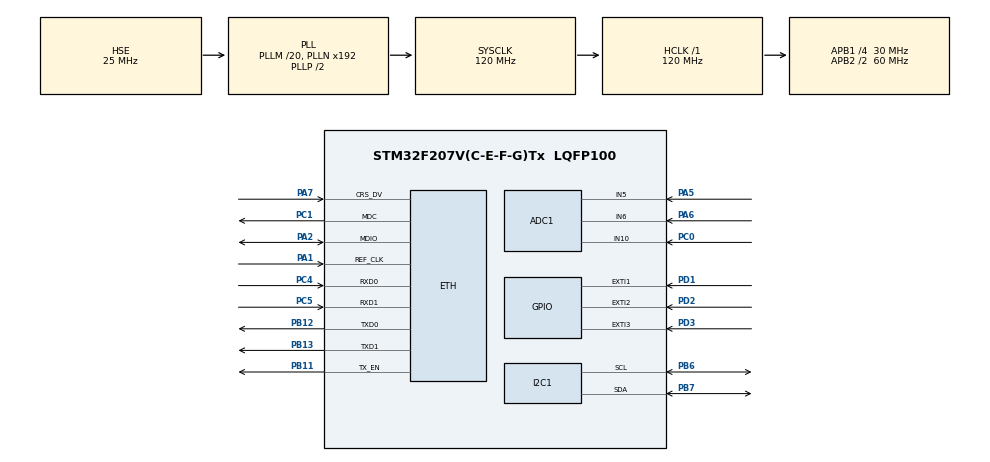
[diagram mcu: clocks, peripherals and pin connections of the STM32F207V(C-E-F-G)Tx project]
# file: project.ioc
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ADC1.Channel-0\#ChannelRegularConversion=ADC_CHANNEL_5
ADC1.Channel-1\#ChannelRegularConversion=ADC_CHANNEL_5
ADC1.Channel-2\#ChannelRegularConversion=ADC_CHANNEL_5
ADC1.ExternalTrigConv=ADC_EXTERNALTRIGCONV_T3_TRGO
ADC1.NbrOfConversion=3
ADC1.NbrOfConversionFlag=1
ADC1.Rank-0\#ChannelRegularConversion=1
ADC1.Rank-1\#ChannelRegularConversion=2
ADC1.Rank-2\#ChannelRegularConversion=3
ADC1.SamplingTime-0\#ChannelRegularConversion=ADC_SAMPLETIME_56CYCLES
ADC1.SamplingTime-1\#ChannelRegularConversion=ADC_SAMPLETIME_56CYCLES
ADC1.SamplingTime-2\#ChannelRegularConversion=ADC_SAMPLETIME_56CYCLES
ADC1.ScanConvMode=ENABLE
ADC1.master=1
Dma.ADC1.0.Direction=DMA_PERIPH_TO_MEMORY
Dma.ADC1.0.FIFOMode=DMA_FIFOMODE_DISABLE
Dma.ADC1.0.Instance=DMA2_Stream0
Dma.ADC1.0.MemDataAlignment=DMA_MDATAALIGN_WORD
Dma.ADC1.0.MemInc=DMA_MINC_ENABLE
Dma.ADC1.0.Mode=DMA_CIRCULAR
Dma.ADC1.0.PeriphDataAlignment=DMA_PDATAALIGN_WORD
Dma.ADC1.0.PeriphInc=DMA_PINC_DISABLE
Dma.ADC1.0.Priority=DMA_PRIORITY_HIGH
Dma.Request0=ADC1
ETH.MediaInterface=ETH_MEDIA_INTERFACE_RMII
ETH.PhyAddress=0
LWIP.GATEWAY_ADDRESS=192.168.001.001
LWIP.IP_ADDRESS=192.168.001.178
LWIP.LWIP_DHCP=0
LWIP.LWIP_HTTPD=1
LWIP.LWIP_HTTPD_CGI=1
LWIP.LWIP_HTTPD_SSI=1
LWIP.LWIP_HTTPD_SUPPORT_POST=1
LWIP.LWIP_SNMP=1
LWIP.LWIP_SNMP_V3=0
LWIP.LWIP_SNMP_V3_MBEDTLS=0
LWIP.NETMASK_ADDRESS=255.255.255.000
LWIP.Version=v2.0.3_Cube
Mcu.Family=STM32F2
Mcu.Name=STM32F207V(C-E-F-G)Tx
Mcu.Package=LQFP100
NVIC.DMA2_Stream0_IRQn=true\:0\:0\:false\:false\:true\:false\:true\:true
NVIC.EXTI1_IRQn=true\:5\:0\:true\:false\:true\:true\:true\:true
NVIC.EXTI2_IRQn=true\:5\:0\:true\:false\:true\:true\:true\:true
NVIC.EXTI3_IRQn=true\:5\:0\:true\:false\:true\:true\:true\:true
NVIC.PriorityGroup=NVIC_PRIORITYGROUP_4
PA1.Mode=RMII
PA1.Signal=ETH_REF_CLK
PA13.Mode=Serial_Wire
PA13.Signal=SYS_JTMS-SWDIO
PA14.Mode=Serial_Wire
PA14.Signal=SYS_JTCK-SWCLK
PA2.Mode=RMII
PA2.Signal=ETH_MDIO
PA5.Signal=ADCx_IN5
PA6.Signal=ADCx_IN6
PA7.Mode=RMII
PA7.Signal=ETH_CRS_DV
PB11.Mode=RMII
PB11.Signal=ETH_TX_EN
PB12.Mode=RMII
PB12.Signal=ETH_TXD0
PB13.Mode=RMII
PB13.Signal=ETH_TXD1
PB6.Mode=I2C
PB6.Signal=I2C1_SCL
PB7.Mode=I2C
PB7.Signal=I2C1_SDA
PC0.Signal=ADCx_IN10
PC1.Mode=RMII
PC1.Signal=ETH_MDC
PC4.Mode=RMII
PC4.Signal=ETH_RXD0
PC5.Mode=RMII
PC5.Signal=ETH_RXD1
PD1.GPIO_PuPd=GPIO_PULLUP
PD1.Signal=GPXTI1
PD2.GPIO_PuPd=GPIO_PULLUP
PD2.Signal=GPXTI2
PD3.GPIO_PuPd=GPIO_PULLUP
PD3.Signal=GPXTI3
PH0-OSC_IN.Mode=HSE-External-Oscillator
PH0-OSC_IN.Signal=RCC_OSC_IN
PH1-OSC_OUT.Mode=HSE-External-Oscillator
PH1-OSC_OUT.Signal=RCC_OSC_OUT
ProjectManager.HeapSize=0x2000
ProjectManager.StackSize=0x4000
ProjectManager.TargetToolchain=STM32CubeIDE
RCC.48MHZClocksFreq_Value=60000000
RCC.AHBFreq_Value=120000000
RCC.APB1CLKDivider=RCC_HCLK_DIV4
RCC.APB1Freq_Value=30000000
RCC.APB1TimFreq_Value=60000000
RCC.APB2CLKDivider=RCC_HCLK_DIV2
RCC.APB2Freq_Value=60000000
RCC.APB2TimFreq_Value=120000000
RCC.CortexFreq_Value=120000000
RCC.HCLKFreq_Value=120000000
RCC.HSE_VALUE=25000000
RCC.HSI_VALUE=16000000
RCC.LSE_VALUE=32768
RCC.PLLM=20
RCC.PLLSourceVirtual=RCC_PLLSOURCE_HSE
RCC.SYSCLKFreq_VALUE=120000000
RCC.SYSCLKSource=RCC_SYSCLKSOURCE_PLLCLK
RCC.VCOOutputFreq_Value=240000000
SH.ADCx_IN10.0=ADC1_IN10,IN10
SH.ADCx_IN5.0=ADC1_IN5,IN5
SH.ADCx_IN6.0=ADC1_IN6,IN6
TIM3.AutoReloadPreload=TIM_AUTORELOAD_PRELOAD_ENABLE
TIM3.Period=99
TIM3.Prescaler=59
TIM3.TIM_MasterOutputTrigger=TIM_TRGO_UPDATE
VP_LWIP_VS_Enabled.Mode=Enabled
VP_RTC_VS_RTC_Activate.Mode=RTC_Enabled
VP_RTC_VS_RTC_Calendar.Mode=RTC_Calendar
VP_TIM3_VS_ClockSourceINT.Mode=Internal
board=custom

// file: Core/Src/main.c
/* USER CODE BEGIN Header */
/**
  ******************************************************************************
  * @file           : main.c
  * @brief          : Main program body
  ******************************************************************************
  * @attention
  *
  * Copyright (c) 2025 STMicroelectronics.
  * All rights reserved.
  *
  * This software is licensed under terms that can be found in the LICENSE file
  * in the root directory of this software component.
  * If no LICENSE file comes with this software, it is provided AS-IS.
  *
  ******************************************************************************
  */
/* USER CODE END Header */
#include "main.h"
#include "lwip.h"

/* USER CODE BEGIN Includes */

#include "lwip/apps/httpd.h"

#include "lwip/apps/snmp.h"
#include "lwip/apps/snmp_scalar.h"
#include "lwip/apps/snmp_mib2.h"
#include "lwip/err.h"
#include "lwip/udp.h"
#include "lwip/ip_addr.h"

#include "signal_processor.h"
#include "ssd1306_driver/ssd1306.h"
#include <string.h>
#include "ssd1306_driver/ssd1306_fonts.h"
#include "oled/oled_netinfo.h"
#include "oled/oled_abpage.h"
#include "buttons/buttons_process.h"
#include "oled/oled_display.h"
#include "oled/oled_settings.h"
#include "credentials.h"
#include "buttons/buttons.h"
#include "settings_storage.h"
#include <ctype.h>
/* USER CODE END Includes */

/* USER CODE BEGIN PTD */
#include "snmp/custom_mib.h"
#include "lwip/apps/snmp_mib2.h"

/* Список MIB */
const struct snmp_mib* mib_array[] = {
  &mib2,        /* стандартный MIB-II */
  &custom_mib   /* ваш кастомный */
};

const u8_t snmp_num_mibs = LWIP_ARRAYSIZE(mib_array);

/* USER CODE END PTD */

/* USER CODE BEGIN PM */

/* Private typedef -----------------------------------------------------------*/
/* USER CODE BEGIN PTD */
/* USER CODE END PTD */

/* Private define ------------------------------------------------------------*/
/* USER CODE BEGIN PD */

extern float voltage1;
extern float voltage2;
extern float current;
extern float s_power;

extern float selected_voltage;

/* USER CODE END PD */

/* Private macro -------------------------------------------------------------*/
/* USER CODE BEGIN PM */

#define ADC_BUFFER_SIZE   (3 * ADC_SAMPLES)
uint32_t adc_buffer[ADC_BUFFER_SIZE];
volatile uint8_t dma_ready = 0;

void HAL_ADC_ConvCpltCallback(ADC_HandleTypeDef* hadc)
{
    dma_ready = 1;
}
/* USER CODE END PM */

ADC_HandleTypeDef hadc1;
DMA_HandleTypeDef hdma_adc1;

I2C_HandleTypeDef hi2c1;

RTC_HandleTypeDef hrtc;

TIM_HandleTypeDef htim3;

/* USER CODE BEGIN PV */
extern struct netif gnetif;
/* USER CODE END PV */

void SystemClock_Config(void);
static void MX_GPIO_Init(void);
static void MX_DMA_Init(void);
static void MX_I2C1_Init(void);
static void MX_ADC1_Init(void);
static void MX_TIM3_Init(void);
static void MX_RTC_Init(void);
/* USER CODE BEGIN PFP */

void ApplySNMPSettings(void);
void httpd_ssi_init_custom(void);

void ApplySNMPSettings(void) {
    // Пока пусто — позже добавишь код для применения SNMP community
}

/* USER CODE END PFP */

/* USER CODE BEGIN 0 */
volatile uint8_t g_is_authenticated = 0; // глобальный флаг авторизации (упрощённая сессия)
// TTL авторизационной сессии для httpd (мс). Используется в fs.c (LWIP httpd).
// Если на вашей стороне fs.c ожидает этот символ, задаём разумное значение по умолчанию.
uint32_t g_auth_ttl_ms = 600000; // 10 минут

ip4_addr_t new_ip, new_mask, new_gw;
uint8_t new_dhcp_enabled = 0;
uint8_t apply_network_settings = 0;  // флаг применения

// Прототипы CGI-функций
const char * NET_CGI_Handler(int iIndex, int iNumParams, char *pcParam[], char *pcValue[]);
const char * LOGIN_CGI_Handler(int iIndex, int iNumParams, char *pcParam[], char *pcValue[]);
const char * CREDS_CGI_Handler(int iIndex, int iNumParams, char *pcParam[], char *pcValue[]);

// Таблица CGI
const tCGI NET_CGI = {"/set_network.cgi", NET_CGI_Handler};
const tCGI LOGIN_CGI = {"/login.cgi", LOGIN_CGI_Handler};
tCGI CREDS_CGI = {"/set_creds.cgi", CREDS_CGI_Handler};
/* Increased size to accommodate all handlers (NET, DATE, TIME, SNMP, FW, LOGIN, CREDS) */
tCGI CGI_TAB[8];

const char* NET_CGI_Handler(int iIndex, int iNumParams, char *pcParam[], char *pcValue[])
{
    // Reset DHCP flag; it's set only when parameter is present
    new_dhcp_enabled = 0;
    for (int i=0; i<iNumParams; i++) {
        // Сетевые
        if (strcmp(pcParam[i], "ip") == 0 && pcValue[i][0] != '\0') new_ip.addr = ipaddr_addr(pcValue[i]);
        else if (strcmp(pcParam[i], "mask") == 0 && pcValue[i][0] != '\0') new_mask.addr = ipaddr_addr(pcValue[i]);
        else if (strcmp(pcParam[i], "gateway") == 0 && pcValue[i][0] != '\0') new_gw.addr = ipaddr_addr(pcValue[i]);
        else if (strcmp(pcParam[i], "dhcp") == 0) new_dhcp_enabled = 1;
    }

    apply_network_settings = 1;

    return "/settings.html";  // редирект обратно
}

#include "lwip/ip_addr.h"
#include <stdlib.h>
#include <string.h>

uint8_t new_year=0, new_month=0, new_day=0;
uint8_t apply_date_settings = 0;

const char* DATE_CGI_Handler(int iIndex, int iNumParams, char *pcParam[], char *pcValue[])
{
    for(int i=0; i<iNumParams; i++)
    {
        if(strcmp(pcParam[i],"date")==0 && pcValue[i][0]!='\0')
        {
            int y,m,d;
            if(sscanf(pcValue[i], "%d-%d-%d", &y,&m,&d)==3)
            {
                new_year  = (uint8_t)(y % 100);
                new_month = (uint8_t)m;
                new_day   = (uint8_t)d;
                apply_date_settings = 1;
            }
        }
    }
    // --- сразу сохраняем в backup (если RTC уже инициализирован) ---
}

const tCGI DATE_CGI = {"/set_date.cgi", DATE_CGI_Handler};

uint8_t new_hours = 0, new_minutes = 0, new_seconds = 0;
uint8_t apply_time_settings = 0;

const char* TIME_CGI_Handler(int iIndex, int iNumParams, char *pcParam[], char *pcValue[])
{
    apply_time_settings = 0;

    for(int i = 0; i < iNumParams; i++)
    {
        if(strcmp(pcParam[i], "time") == 0 && strlen(pcValue[i]) >= 5)
        {
            // Простой парсинг без sscanf
            char *colon = strchr(pcValue[i], ':');
            if(colon != NULL)
            {
                // Берем первые 2 символа как часы
                char hour_str[3] = {0};
                strncpy(hour_str, pcValue[i], 2);
                hour_str[2] = '\0';

                // Берем 2 символа после двоеточия как минуты
                char min_str[3] = {0};
                strncpy(min_str, colon + 1, 2);
                min_str[2] = '\0';

                int h = atoi(hour_str);
                int mi = atoi(min_str);

                if(h >= 0 && h < 24 && mi >= 0 && mi < 60)
                {
                    new_hours = (uint8_t)h;
                    new_minutes = (uint8_t)mi;
                    new_seconds = 0;
                    apply_time_settings = 1;
                }
            }
        }
    }
    return "/settings.html";
}

const tCGI TIME_CGI = {"/set_time.cgi", TIME_CGI_Handler};

extern const char *snmp_community[];
extern const char *snmp_community_write[];
extern const char *snmp_trap_community[];

// --- SNMP ---
char snmp_read[32] = "public";
char snmp_write[32] = "private";
char snmp_trap[32] = "public";
uint8_t apply_snmp_settings = 0;

// CGI-хэндлер для SNMP
const char* SNMP_CGI_Handler(int iIndex, int iNumParams, char *pcParam[], char *pcValue[])
{
    for(int i=0; i<iNumParams; i++)
    {
        if(strcmp(pcParam[i],"snmp-read")==0 && pcValue[i][0]!='\0')
        {
            strncpy(snmp_read, pcValue[i], sizeof(snmp_read)-1);
            snmp_read[sizeof(snmp_read)-1] = 0;
        }
        else if(strcmp(pcParam[i],"snmp-write")==0 && pcValue[i][0]!='\0')
        {
            strncpy(snmp_write, pcValue[i], sizeof(snmp_write)-1);
            snmp_write[sizeof(snmp_write)-1] = 0;
        }
        else if(strcmp(pcParam[i],"snmp-trap")==0 && pcValue[i][0]!='\0')
        {
            strncpy(snmp_trap, pcValue[i], sizeof(snmp_trap)-1);
            snmp_trap[sizeof(snmp_trap)-1] = 0;
        }
    }
    apply_snmp_settings = 1; // ставим флаг применения в main()
    return "/settings.html";  // редирект обратно
}

// CGI для смены пароля (GET, pass, до 8 символов). Логин удалён.
const char * CREDS_CGI_Handler(int iIndex, int iNumParams, char *pcParam[], char *pcValue[])
{
    char pass[9] = {0};
    for (int i = 0; i < iNumParams; i++) {
        if (strcmp(pcParam[i], "pass") == 0 && pcValue[i]) {
            strncpy(pass, pcValue[i], sizeof(pass)-1);
        }
    }
    // обрежем на стороне сервера до 8 ascii-символов
    pass[8] = 0;
    Creds_UpdatePassword(pass);
    return "/settings.html";
}

// Таблица CGI для SNMP
const tCGI SNMP_CGI = {"/set_snmp.cgi", SNMP_CGI_Handler};

#include "stm32f2xx_hal.h"
#include <string.h>
#include <stdbool.h>

#define FLASH_SNMP_ADDR  0x080E0000  // выбери свободный сектор

void Save_SNMP_Settings_To_Flash(const char* read, const char* write, const char* trap)
{
    HAL_FLASH_Unlock();

    FLASH_EraseInitTypeDef eraseInit;
    uint32_t pageError = 0;

    eraseInit.TypeErase = FLASH_TYPEERASE_SECTORS;
    eraseInit.Sector = FLASH_SECTOR_11;   // зависит от твоего чипа!
    eraseInit.NbSectors = 1;
    eraseInit.VoltageRange = FLASH_VOLTAGE_RANGE_3;

    HAL_FLASHEx_Erase(&eraseInit, &pageError);

    uint32_t address = FLASH_SNMP_ADDR;

    HAL_FLASH_Program(FLASH_TYPEPROGRAM_WORD, address, *((uint32_t*)read));
    address += 4;
    HAL_FLASH_Program(FLASH_TYPEPROGRAM_WORD, address, *((uint32_t*)write));
    address += 4;
    HAL_FLASH_Program(FLASH_TYPEPROGRAM_WORD, address, *((uint32_t*)trap));

    HAL_FLASH_Lock();
}

// Попытка OTA: область для приёма прошивки. ВНИМАНИЕ:
// Для STM32F207VCTx (256KB) приложение в текущей сборке занимает сектор 5 (0x08020000..0x0803FFFF),
// поэтому место для OTA, скорее всего, недоступно. Код ниже выполняет безопасные проверки
// и откажется от обновления, если область занята (не пустая), чтобы не "убить" прошивку.
#define FLASH_UPDATE_ADDR   0x08020000U    // предполагаемый слот OTA (Sector 5, 128KB)
#define FLASH_UPDATE_END    0x08040000U
#define RAM_BUFFER_SIZE     (8*1024)       // небольшой буфер для выравнивания

typedef struct {
    uint8_t buffer[RAM_BUFFER_SIZE];
    uint32_t buffer_len;
    uint32_t total_len;
    bool active;
    bool error;
    uint32_t write_addr;
    uint8_t word_buf[4];
    uint8_t word_buf_len;
    uint32_t crc;
    bool erased;
} FW_Update_Context;

FW_Update_Context fw_ctx;
static bool fw_request_active = false;   // текущий POST = fw_update?
// --- Helpers for Flash OTA ---
static uint32_t Flash_GetSector(uint32_t Address)
{
    if (Address < 0x08004000U) return FLASH_SECTOR_0;
    if (Address < 0x08008000U) return FLASH_SECTOR_1;
    if (Address < 0x0800C000U) return FLASH_SECTOR_2;
    if (Address < 0x08010000U) return FLASH_SECTOR_3;
    if (Address < 0x08020000U) return FLASH_SECTOR_4;
    return FLASH_SECTOR_5; // up to 0x0803FFFF for 256KB devices
}

static bool Flash_IsBlank(uint32_t addr, uint32_t bytes_to_check)
{
    for (uint32_t off = 0; off < bytes_to_check; off += 4) {
        uint32_t v = *(volatile uint32_t *)(addr + off);
        if (v != 0xFFFFFFFFU) return false;
    }
    return true;
}

static void FW_ResetContext(void)
{
    fw_ctx.active = false;
    fw_ctx.error = false;
    fw_ctx.buffer_len = 0;
    fw_ctx.total_len = 0;
    fw_ctx.write_addr = FLASH_UPDATE_ADDR;
    fw_ctx.word_buf_len = 0;
    fw_ctx.crc = 0xFFFFFFFFU;
    fw_ctx.erased = false;
}

static inline void FW_CrcUpdate(const uint8_t *data, uint32_t len)
{
    for (uint32_t i = 0; i < len; i++) {
        fw_ctx.crc ^= data[i];
        for (uint8_t j = 0; j < 8; j++) {
            fw_ctx.crc = (fw_ctx.crc >> 1) ^ (0xEDB88320U & (~(fw_ctx.crc & 1U) + 1U));
        }
    }
}

static HAL_StatusTypeDef FW_EnsureErasedForAddress(uint32_t address)
{
    if (fw_ctx.erased) return HAL_OK;
    // Проверка: область должна быть пустой, иначе это часть прошивки — отменяем OTA
    if (!Flash_IsBlank(FLASH_UPDATE_ADDR, 1024U)) { // проверим первые 1KB
        fw_ctx.error = true;
        return HAL_ERROR;
    }

    FLASH_EraseInitTypeDef erase;
    uint32_t pageError = 0;
    erase.TypeErase = FLASH_TYPEERASE_SECTORS;
    erase.VoltageRange = FLASH_VOLTAGE_RANGE_3;
    erase.Sector = Flash_GetSector(address);
    erase.NbSectors = 1; // стираем только сектор слота OTA
    HAL_StatusTypeDef st = HAL_FLASHEx_Erase(&erase, &pageError);
    if (st == HAL_OK) fw_ctx.erased = true;
    else fw_ctx.error = true;
    return st;
}

static HAL_StatusTypeDef FW_FlashWriteStream(const uint8_t *data, uint32_t len)
{
    // Обеспечиваем стирание перед первой записью
    if (!fw_ctx.erased) {
        HAL_StatusTypeDef est = FW_EnsureErasedForAddress(fw_ctx.write_addr);
        if (est != HAL_OK) return est;
    }

    // Обновляем CRC по потоку
    FW_CrcUpdate(data, len);

    uint32_t idx = 0;
    // Дополним незавершённое слово, если было
    if (fw_ctx.word_buf_len > 0) {
        while (fw_ctx.word_buf_len < 4 && idx < len) {
            fw_ctx.word_buf[fw_ctx.word_buf_len++] = data[idx++];
        }
        if (fw_ctx.word_buf_len == 4) {
            uint32_t word;
            memcpy(&word, fw_ctx.word_buf, 4);
            if (HAL_FLASH_Program(FLASH_TYPEPROGRAM_WORD, fw_ctx.write_addr, word) != HAL_OK) return HAL_ERROR;
            fw_ctx.write_addr += 4;
            fw_ctx.word_buf_len = 0;
        }
    }

    // Пишем целыми словами напрямую из входного буфера
    while ((idx + 4) <= len) {
        uint32_t word;
        memcpy(&word, &data[idx], 4);
        if (HAL_FLASH_Program(FLASH_TYPEPROGRAM_WORD, fw_ctx.write_addr, word) != HAL_OK) return HAL_ERROR;
        fw_ctx.write_addr += 4;
        idx += 4;
        if (fw_ctx.write_addr >= FLASH_UPDATE_END) { fw_ctx.error = true; return HAL_ERROR; }
    }

    // Остаток < 4 байт сохраняем в буфер до завершения
    while (idx < len) {
        fw_ctx.word_buf[fw_ctx.word_buf_len++] = data[idx++];
    }
    return HAL_OK;
}

// CRC32 функция (можно заменить на HAL/STM32 встроенную)
uint32_t crc32(uint8_t *data, uint32_t len)
{
    uint32_t crc = 0xFFFFFFFF;
    for(uint32_t i = 0; i < len; i++) {
        crc ^= data[i];
        for(uint8_t j = 0; j < 8; j++)
            crc = (crc >> 1) ^ (0xEDB88320 & (~(crc & 1) + 1));
    }
    return ~crc;
}

// --- CGI ---
const char* FW_Update_CGI_Handler(int iIndex, int iNumParams, char *pcParam[], char *pcValue[])
{
    return "/update.html";
}

const tCGI FW_UPDATE_CGI = {"/fw_update.cgi", FW_Update_CGI_Handler};

// GET-логин через CGI-параметры pass (без user)
const char* LOGIN_CGI_Handler(int iIndex, int iNumParams, char *pcParam[], char *pcValue[])
{
    char pass[32] = {0};
    for (int i = 0; i < iNumParams; i++) {
        if (strcmp(pcParam[i], "pass") == 0 && pcValue[i] && pcValue[i][0]) {
            strncpy(pass, pcValue[i], sizeof(pass) - 1);
        }
    }
    url_decode(pass, pass);
    extern volatile uint8_t g_is_authenticated;
    g_is_authenticated = (pass[0] && Creds_CheckPassword(pass)) ? 1 : 0;
    if (!g_is_authenticated && pass[0] && strcmp(pass, "admin") == 0) {
        /* Fallback: accept default 'admin' and normalize stored password */
        Creds_UpdatePassword("admin");
        g_is_authenticated = 1;
    }
    return g_is_authenticated ? "/index.html" : "/login_failed.html";
}

void url_decode(char *dst, const char *src)
{
    char a, b;
    while (*src)
    {
        if ((*src == '%') &&
            ((a = src[1]) && (b = src[2])) &&
            (isxdigit(a) && isxdigit(b)))
        {
            a = (a >= 'a') ? a - 'a' + 10 : (a >= 'A') ? a - 'A' + 10 : a - '0';
            b = (b >= 'a') ? b - 'a' + 10 : (b >= 'A') ? b - 'A' + 10 : b - '0';
            *dst++ = (char)(16 * a + b);
            src += 3;
        }
        else if (*src == '+')
        {
            *dst++ = ' ';
            src++;
        }
        else
        {
            *dst++ = *src++;
        }
    }
    *dst = '\0';
}

// --- POST обработчики ---
err_t httpd_post_begin(void *connection,
                       const char *uri,
                       const char *http_request,
                       u16_t content_len,
                       int total_data_len,
                       char *post_data,
                       u16_t post_data_len,
                       u8_t *connection_status)
{
    // Сброс признаков по умолчанию
    fw_request_active = false;

    if(strcmp(uri, "/fw_update.cgi") == 0) {
        fw_request_active = true;
        FW_ResetContext();
        // Если слот OTA потенциально пересекается с текущей прошивкой (не пустой) — не начинаем запись
        if (!Flash_IsBlank(FLASH_UPDATE_ADDR, 1024U)) {
            fw_ctx.error = true;
            fw_ctx.active = false;
            *connection_status = 0; // не буферизуем лишние данные
            return ERR_OK;
        }
        fw_ctx.active = true;
        *connection_status = 1; // продолжаем принимать
        HAL_FLASH_Unlock();
    }
    return ERR_OK;
}

err_t httpd_post_receive_data(void *connection, struct pbuf *p)
{
    if (p == NULL) return ERR_OK;

    if (fw_ctx.active) {
        struct pbuf *q = p;
        while(q) {
            if (FW_FlashWriteStream((const uint8_t*)q->payload, q->len) != HAL_OK) {
                fw_ctx.error = true;
                fw_ctx.active = false;
                break;
            }
            fw_ctx.total_len += q->len;
            q = q->next;
        }
    }
    return ERR_OK;
}

void httpd_post_finished(void *connection, char *response_uri, u16_t response_uri_len)
{
    // Если это был fw_update — завершим запись и отдадим соответствующую страницу
    if (fw_request_active) {
        // Завершаем запись: дописываем неполное слово, если нужно
        if (fw_ctx.active && !fw_ctx.error) {
            if (fw_ctx.word_buf_len > 0) {
                while (fw_ctx.word_buf_len < 4) fw_ctx.word_buf[fw_ctx.word_buf_len++] = 0xFF;
                uint32_t word;
                memcpy(&word, fw_ctx.word_buf, 4);
                if (HAL_FLASH_Program(FLASH_TYPEPROGRAM_WORD, fw_ctx.write_addr, word) != HAL_OK) {
                    fw_ctx.error = true;
                } else {
                    fw_ctx.write_addr += 4;
                }
            }
        }
        HAL_FLASH_Lock();
        fw_ctx.active = false;
        if (response_uri && response_uri_len) {
            if (fw_ctx.error || fw_ctx.total_len == 0) {
                strncpy(response_uri, "/update.html", response_uri_len);
            } else {
                strncpy(response_uri, "/update_complete.html", response_uri_len);
            }
        }
        return;
    }
}

/* USER CODE END 0 */

int main(void)
{

  /* MCU Configuration--------------------------------------------------------*/

  /* Reset of all peripherals, Initializes the Flash interface and the Systick. */
  HAL_Init();

  /* Configure the system clock */
  SystemClock_Config();

  /* Initialize all configured peripherals */
  MX_GPIO_Init();
  MX_DMA_Init();
  MX_I2C1_Init();
  MX_LWIP_Init();
  MX_ADC1_Init();
  MX_TIM3_Init();
  MX_RTC_Init();
  /* USER CODE BEGIN 2 */
  // Инициализация логина/пароля (admin/admin по умолчанию)
  Creds_Init();
  Settings_Init();
  // Load and apply display rotation before drawing anything
  {
    uint8_t rot180 = Settings_Load_Rotation();
    ssd1306_SetRotation180(rot180);
  }

  ip4_addr_t bk_ip, bk_mask, bk_gw;
  uint8_t bk_dhcp;
  char bk_snmp_read[32], bk_snmp_write[32], bk_snmp_trap[32];

  Settings_Load_From_Backup(&bk_ip, &bk_mask, &bk_gw, &bk_dhcp,
                            bk_snmp_read, sizeof(bk_snmp_read),
                            bk_snmp_write, sizeof(bk_snmp_write),
                            bk_snmp_trap, sizeof(bk_snmp_trap));

  // Apply saved network settings on boot if present
  if (bk_dhcp || bk_ip.addr != 0) {
      netif_set_down(&gnetif);
      if (bk_dhcp) {
          dhcp_start(&gnetif);
      } else {
          netif_set_addr(&gnetif, &bk_ip, &bk_mask, &bk_gw);
      }
      netif_set_up(&gnetif);
  } else {
      // Backup пуст — применяем заводские значения (статический IP)
      ip4_addr_t def_ip, def_mask, def_gw;
      IP4_ADDR(&def_ip, 192,168,0,254);
      IP4_ADDR(&def_mask, 255,255,255,0);
      IP4_ADDR(&def_gw, 192,168,0,1);
      netif_set_down(&gnetif);
      netif_set_addr(&gnetif, &def_ip, &def_mask, &def_gw);
      netif_set_up(&gnetif);
  }

  /* Инициализируем SNMP community из backup */
  if (bk_snmp_read[0])  strncpy(snmp_read,  bk_snmp_read,  sizeof(snmp_read)-1);
  if (bk_snmp_write[0]) strncpy(snmp_write, bk_snmp_write, sizeof(snmp_write)-1);
  if (bk_snmp_trap[0])  strncpy(snmp_trap,  bk_snmp_trap,  sizeof(snmp_trap)-1);
  /* Применяем к SNMP-агенту на старте */
  snmp_community[0] = snmp_read;
  snmp_community_write[0] = snmp_write;
  snmp_set_community_trap(snmp_trap);

  httpd_init();

  httpd_ssi_init_custom();

  // Регистрация CGI

  CGI_TAB[0] = NET_CGI;
  CGI_TAB[1] = DATE_CGI;
  CGI_TAB[2] = TIME_CGI;
  CGI_TAB[3] = SNMP_CGI;
  CGI_TAB[4] = FW_UPDATE_CGI;
  CGI_TAB[5] = LOGIN_CGI;
  CGI_TAB[6] = CREDS_CGI;
  http_set_cgi_handlers(CGI_TAB, 7); // количество зарегистрированных CGI
  snmp_init();

  snmp_set_mibs(mib_array, snmp_num_mibs);

  ssd1306_Init();

  ssd1306_UpdateScreen();

  ssd1306_Fill(Black);

  Buttons_Init();

  HAL_ADC_Start_DMA(&hadc1, adc_buffer, ADC_BUFFER_SIZE);

  HAL_TIM_Base_Start(&htim3);
  /* USER CODE END 2 */

  /* Infinite loop */
  /* USER CODE BEGIN WHILE */
  while (1)
  {
	  MX_LWIP_Process();

      if (dma_ready) {
          SignalProcessor_Update(adc_buffer, ADC_SAMPLES);
          dma_ready = 0;
      }
	    Buttons_Process();

	    OLED_Settings_TimeoutCheck();

	    OLED_UpdateDisplay();

	    if (apply_network_settings) {
	        apply_network_settings = 0;

	        netif_set_down(&gnetif);
	        dhcp_stop(&gnetif);

	        if (new_dhcp_enabled) {
	            dhcp_start(&gnetif);
	        } else {
	            netif_set_addr(&gnetif, &new_ip, &new_mask, &new_gw);
	        }
	        netif_set_up(&gnetif);

	        Settings_Save_To_Backup(new_ip, new_mask, new_gw, new_dhcp_enabled,
	                                snmp_read, snmp_write, snmp_trap);
	    }

	    	// Дата
	    if(apply_date_settings)
	    {
	        apply_date_settings = 0;

	        RTC_DateTypeDef sDate = {0};
	        sDate.Year  = new_year;
	        sDate.Month = new_month;
	        sDate.Date  = new_day;
	        sDate.WeekDay = RTC_WEEKDAY_TUESDAY;

	        if (HAL_RTC_SetDate(&hrtc, &sDate, RTC_FORMAT_BIN) == HAL_OK)
	        {
	            RTC_TimeTypeDef t;
	            HAL_RTC_GetTime(&hrtc, &t, RTC_FORMAT_BIN);
	        }
	    }

	    	// Обработка ВРЕМЕНИ
	    if(apply_time_settings)
	    {
	        apply_time_settings = 0;

	        RTC_TimeTypeDef sTime = {0};
	        sTime.Hours   = new_hours;
	        sTime.Minutes = new_minutes;
	        sTime.Seconds = new_seconds;
	        sTime.DayLightSaving = RTC_DAYLIGHTSAVING_NONE;
	        sTime.StoreOperation = RTC_STOREOPERATION_RESET;

        if (HAL_RTC_SetTime(&hrtc, &sTime, RTC_FORMAT_BIN) == HAL_OK)
	        {
	            RTC_DateTypeDef d;
	            HAL_RTC_GetDate(&hrtc, &d, RTC_FORMAT_BIN);
	        }
	    }

	        // Проверка применения SNMP
	    	if (apply_snmp_settings) {
	    	    apply_snmp_settings = 0;
            snmp_community[0] = snmp_read;
            snmp_community_write[0] = snmp_write;
            snmp_set_community_trap(snmp_trap);

            // Preserve current network settings: reload them from backup and rewrite with new SNMP
            ip4_addr_t saved_ip, saved_mask, saved_gw;
            uint8_t saved_dhcp;
            Settings_Load_From_Backup(&saved_ip, &saved_mask, &saved_gw, &saved_dhcp,
                                      NULL, 0, NULL, 0, NULL, 0);
            Settings_Save_To_Backup(saved_ip, saved_mask, saved_gw, saved_dhcp,
                                    snmp_read, snmp_write, snmp_trap);
	    	}

    /* USER CODE END WHILE */

  }
}

void SystemClock_Config(void)
{
  RCC_OscInitTypeDef RCC_OscInitStruct = {0};
  RCC_ClkInitTypeDef RCC_ClkInitStruct = {0};
  RCC_PeriphCLKInitTypeDef PeriphClkInitStruct = {0};

  /** Initializes the RCC Oscillators according to the specified parameters
  * in the RCC_OscInitTypeDef structure.
  */
  RCC_OscInitStruct.OscillatorType = RCC_OSCILLATORTYPE_LSI|RCC_OSCILLATORTYPE_HSE;
  RCC_OscInitStruct.HSEState = RCC_HSE_ON;
  RCC_OscInitStruct.LSIState = RCC_LSI_ON;
  RCC_OscInitStruct.PLL.PLLState = RCC_PLL_ON;
  RCC_OscInitStruct.PLL.PLLSource = RCC_PLLSOURCE_HSE;
  RCC_OscInitStruct.PLL.PLLM = 20;
  RCC_OscInitStruct.PLL.PLLN = 192;
  RCC_OscInitStruct.PLL.PLLP = RCC_PLLP_DIV2;
  RCC_OscInitStruct.PLL.PLLQ = 4;
  if (HAL_RCC_OscConfig(&RCC_OscInitStruct) != HAL_OK)
  {
    Error_Handler();
  }

  /** Initializes the CPU, AHB and APB buses clocks
  */
  RCC_ClkInitStruct.ClockType = RCC_CLOCKTYPE_HCLK|RCC_CLOCKTYPE_SYSCLK
                              |RCC_CLOCKTYPE_PCLK1|RCC_CLOCKTYPE_PCLK2;
  RCC_ClkInitStruct.SYSCLKSource = RCC_SYSCLKSOURCE_PLLCLK;
  RCC_ClkInitStruct.AHBCLKDivider = RCC_SYSCLK_DIV1;
  RCC_ClkInitStruct.APB1CLKDivider = RCC_HCLK_DIV4;
  RCC_ClkInitStruct.APB2CLKDivider = RCC_HCLK_DIV2;

  if (HAL_RCC_ClockConfig(&RCC_ClkInitStruct, FLASH_LATENCY_3) != HAL_OK)
  {
    Error_Handler();
  }
  PeriphClkInitStruct.PeriphClockSelection = RCC_PERIPHCLK_RTC;
  PeriphClkInitStruct.RTCClockSelection = RCC_RTCCLKSOURCE_LSI;
  if (HAL_RCCEx_PeriphCLKConfig(&PeriphClkInitStruct) != HAL_OK)
  {
    Error_Handler();
  }
}

static void MX_ADC1_Init(void)
{

  ADC_ChannelConfTypeDef sConfig = {0};

  /** Configure the global features of the ADC (Clock, Resolution, Data Alignment and number of conversion)
  */
  hadc1.Instance = ADC1;
  hadc1.Init.ClockPrescaler = ADC_CLOCK_SYNC_PCLK_DIV2;
  hadc1.Init.Resolution = ADC_RESOLUTION_12B;
  hadc1.Init.ScanConvMode = ENABLE;
  hadc1.Init.ContinuousConvMode = DISABLE;
  hadc1.Init.DiscontinuousConvMode = DISABLE;
  hadc1.Init.ExternalTrigConvEdge = ADC_EXTERNALTRIGCONVEDGE_RISING;
  hadc1.Init.ExternalTrigConv = ADC_EXTERNALTRIGCONV_T3_TRGO;
  hadc1.Init.DataAlign = ADC_DATAALIGN_RIGHT;
  hadc1.Init.NbrOfConversion = 3;
  hadc1.Init.DMAContinuousRequests = ENABLE;
  hadc1.Init.EOCSelection = ADC_EOC_SINGLE_CONV;
  if (HAL_ADC_Init(&hadc1) != HAL_OK)
  {
    Error_Handler();
  }

  /** Configure for the selected ADC regular channel its corresponding rank in the sequencer and its sample time.
  */
  sConfig.Channel = ADC_CHANNEL_5;
  sConfig.Rank = 1;
  sConfig.SamplingTime = ADC_SAMPLETIME_56CYCLES;
  if (HAL_ADC_ConfigChannel(&hadc1, &sConfig) != HAL_OK)
  {
    Error_Handler();
  }

  /** Configure for the selected ADC regular channel its corresponding rank in the sequencer and its sample time.
  */
  sConfig.Channel = ADC_CHANNEL_6;
  sConfig.Rank = 2;
  sConfig.SamplingTime = ADC_SAMPLETIME_56CYCLES;
  if (HAL_ADC_ConfigChannel(&hadc1, &sConfig) != HAL_OK)
  {
    Error_Handler();
  }

  /** Configure for the selected ADC regular channel its corresponding rank in the sequencer and its sample time.
  */
  sConfig.Channel = ADC_CHANNEL_10;
  sConfig.Rank = 3;
  sConfig.SamplingTime = ADC_SAMPLETIME_56CYCLES;
  if (HAL_ADC_ConfigChannel(&hadc1, &sConfig) != HAL_OK)
  {
    Error_Handler();
  }

}

static void MX_I2C1_Init(void)
{

  hi2c1.Instance = I2C1;
  hi2c1.Init.ClockSpeed = 100000;
  hi2c1.Init.DutyCycle = I2C_DUTYCYCLE_2;
  hi2c1.Init.OwnAddress1 = 0;
  hi2c1.Init.AddressingMode = I2C_ADDRESSINGMODE_7BIT;
  hi2c1.Init.DualAddressMode = I2C_DUALADDRESS_DISABLE;
  hi2c1.Init.OwnAddress2 = 0;
  hi2c1.Init.GeneralCallMode = I2C_GENERALCALL_DISABLE;
  hi2c1.Init.NoStretchMode = I2C_NOSTRETCH_DISABLE;
  if (HAL_I2C_Init(&hi2c1) != HAL_OK)
  {
    Error_Handler();
  }

}

static void MX_RTC_Init(void)
{
    RTC_TimeTypeDef sTime = {0};
    RTC_DateTypeDef sDate = {0};

    __HAL_RCC_PWR_CLK_ENABLE();
    HAL_PWR_EnableBkUpAccess(); // 🔹 доступ к backup-домену

    __HAL_RCC_RTC_ENABLE();     // 🔹 включаем тактирование RTC, если ещё не включено

    hrtc.Instance = RTC;
    hrtc.Init.HourFormat = RTC_HOURFORMAT_24;
    hrtc.Init.AsynchPrediv = 127;
    hrtc.Init.SynchPrediv = 255;
    hrtc.Init.OutPut = RTC_OUTPUT_DISABLE;
    hrtc.Init.OutPutPolarity = RTC_OUTPUT_POLARITY_HIGH;
    hrtc.Init.OutPutType = RTC_OUTPUT_TYPE_OPENDRAIN;

    if (HAL_RTC_Init(&hrtc) != HAL_OK)
    {
        Error_Handler();
    }

    /* Проверяем, был ли RTC уже инициализирован */
    if (HAL_RTCEx_BKUPRead(&hrtc, RTC_BKP_DR0) != 0x32F2)
    {
        // --- Первый запуск ---
        sTime.Hours = 0;
        sTime.Minutes = 0;
        sTime.Seconds = 0;
        sTime.DayLightSaving = RTC_DAYLIGHTSAVING_NONE;
        sTime.StoreOperation = RTC_STOREOPERATION_RESET;
        HAL_RTC_SetTime(&hrtc, &sTime, RTC_FORMAT_BIN);

        sDate.WeekDay = RTC_WEEKDAY_MONDAY;
        sDate.Month = RTC_MONTH_JANUARY;
        sDate.Date = 1;
        sDate.Year = 25;
        HAL_RTC_SetDate(&hrtc, &sDate, RTC_FORMAT_BIN);

        HAL_RTCEx_BKUPWrite(&hrtc, RTC_BKP_DR0, 0x32F2); // 💾 флаг инициализации
    }
    else
    {
        // --- RTC уже настроен, ничего не трогаем ---
    }
}

static void MX_TIM3_Init(void)
{

  TIM_ClockConfigTypeDef sClockSourceConfig = {0};
  TIM_MasterConfigTypeDef sMasterConfig = {0};

  htim3.Instance = TIM3;
  htim3.Init.Prescaler = 59;
  htim3.Init.CounterMode = TIM_COUNTERMODE_UP;
  htim3.Init.Period = 99;
  htim3.Init.ClockDivision = TIM_CLOCKDIVISION_DIV1;
  htim3.Init.AutoReloadPreload = TIM_AUTORELOAD_PRELOAD_ENABLE;
  if (HAL_TIM_Base_Init(&htim3) != HAL_OK)
  {
    Error_Handler();
  }
  sClockSourceConfig.ClockSource = TIM_CLOCKSOURCE_INTERNAL;
  if (HAL_TIM_ConfigClockSource(&htim3, &sClockSourceConfig) != HAL_OK)
  {
    Error_Handler();
  }
  sMasterConfig.MasterOutputTrigger = TIM_TRGO_UPDATE;
  sMasterConfig.MasterSlaveMode = TIM_MASTERSLAVEMODE_DISABLE;
  if (HAL_TIMEx_MasterConfigSynchronization(&htim3, &sMasterConfig) != HAL_OK)
  {
    Error_Handler();
  }

}

static void MX_DMA_Init(void)
{

  /* DMA controller clock enable */
  __HAL_RCC_DMA2_CLK_ENABLE();

  /* DMA interrupt init */
  /* DMA2_Stream0_IRQn interrupt configuration */
  HAL_NVIC_SetPriority(DMA2_Stream0_IRQn, 0, 0);
  HAL_NVIC_EnableIRQ(DMA2_Stream0_IRQn);

}

static void MX_GPIO_Init(void)
{
  GPIO_InitTypeDef GPIO_InitStruct = {0};

  /* GPIO Ports Clock Enable */
  __HAL_RCC_GPIOH_CLK_ENABLE();
  __HAL_RCC_GPIOC_CLK_ENABLE();
  __HAL_RCC_GPIOA_CLK_ENABLE();
  __HAL_RCC_GPIOB_CLK_ENABLE();
  __HAL_RCC_GPIOD_CLK_ENABLE();

  /*Configure GPIO pins : PD1 PD2 PD3 */
  GPIO_InitStruct.Pin = GPIO_PIN_1|GPIO_PIN_2|GPIO_PIN_3;
  GPIO_InitStruct.Mode = GPIO_MODE_IT_RISING;
  GPIO_InitStruct.Pull = GPIO_PULLUP;
  HAL_GPIO_Init(GPIOD, &GPIO_InitStruct);

  /* EXTI interrupt init*/
  HAL_NVIC_SetPriority(EXTI1_IRQn, 5, 0);
  HAL_NVIC_EnableIRQ(EXTI1_IRQn);

  HAL_NVIC_SetPriority(EXTI2_IRQn, 5, 0);
  HAL_NVIC_EnableIRQ(EXTI2_IRQn);

  HAL_NVIC_SetPriority(EXTI3_IRQn, 5, 0);
  HAL_NVIC_EnableIRQ(EXTI3_IRQn);

}

void Error_Handler(void)
{
  __disable_irq();
  while (1)
  {
  }
}
